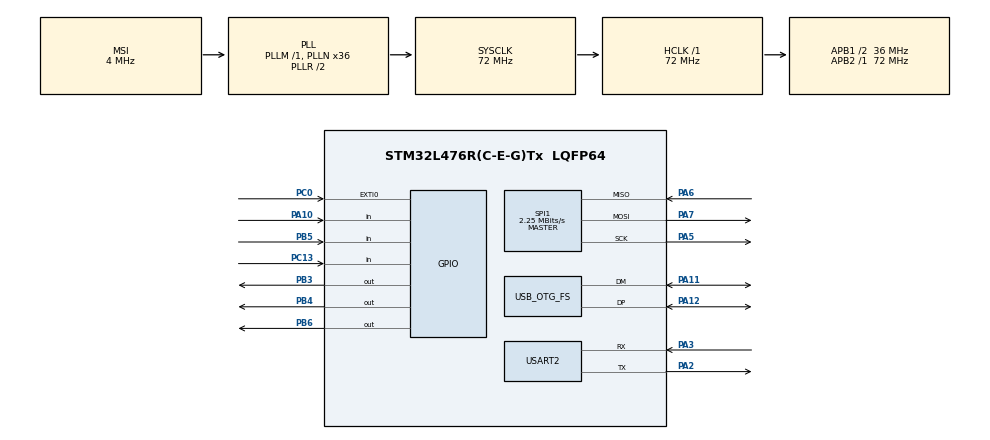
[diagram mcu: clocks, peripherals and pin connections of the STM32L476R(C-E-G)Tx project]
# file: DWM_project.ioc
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Mcu.Family=STM32L4
Mcu.Name=STM32L476R(C-E-G)Tx
Mcu.Package=LQFP64
NVIC.EXTI0_IRQn=true\:1\:0\:true
NVIC.PriorityGroup=NVIC_PRIORITYGROUP_4
PA10.Signal=GPIO_Input
PA11.Mode=Device_Only
PA11.Signal=USB_OTG_FS_DM
PA12.Mode=Device_Only
PA12.Signal=USB_OTG_FS_DP
PA2.Mode=Asynchronous
PA2.Signal=USART2_TX
PA3.Mode=Asynchronous
PA3.Signal=USART2_RX
PA5.Mode=Full_Duplex_Master
PA5.Signal=SPI1_SCK
PA6.GPIO_PuPd=GPIO_PULLUP
PA6.Mode=Full_Duplex_Master
PA6.Signal=SPI1_MISO
PA7.Mode=Full_Duplex_Master
PA7.Signal=SPI1_MOSI
PB3.Signal=GPIO_Output
PB4.Signal=GPIO_Output
PB5.Signal=GPIO_Input
PB6.GPIO_PuPd=GPIO_PULLUP
PB6.GPIO_Speed=GPIO_SPEED_HIGH
PB6.PinState=GPIO_PIN_SET
PB6.Signal=GPIO_Output
PC0.GPIO_PuPd=GPIO_PULLDOWN
PC0.Signal=GPXTI0
PC13.Signal=GPIO_Input
ProjectManager.HeapSize=0x400
ProjectManager.StackSize=0x200
ProjectManager.TargetToolchain=MDK-ARM V5
RCC.ADCFreq_Value=48000000
RCC.AHBFreq_Value=72000000
RCC.APB1CLKDivider=RCC_HCLK_DIV2
RCC.APB1Freq_Value=36000000
RCC.APB1TimFreq_Value=72000000
RCC.APB2Freq_Value=72000000
RCC.APB2TimFreq_Value=72000000
RCC.CortexFreq_Value=72000000
RCC.HCLKFreq_Value=72000000
RCC.HSE_VALUE=8000000
RCC.HSI_VALUE=16000000
RCC.LSE_VALUE=32768
RCC.MSI_VALUE=4000000
RCC.PLLN=36
RCC.PLLSAI1N=24
RCC.SYSCLKFreq_VALUE=72000000
RCC.SYSCLKSource=RCC_SYSCLKSOURCE_PLLCLK
RCC.USBFreq_Value=48000000
RCC.VCOOutputFreq_Value=144000000
SPI1.BaudRatePrescaler=SPI_BAUDRATEPRESCALER_32
SPI1.CLKPhase=SPI_PHASE_1EDGE
SPI1.CLKPolarity=SPI_POLARITY_LOW
SPI1.CRCCalculation=SPI_CRCCALCULATION_DISABLED
SPI1.CalculateBaudRate=2.25 MBits/s
SPI1.DataSize=SPI_DATASIZE_8BIT
SPI1.FirstBit=SPI_FIRSTBIT_MSB
SPI1.Mode=SPI_MODE_MASTER
SPI1.NSSPMode=SPI_NSS_PULSE_DISABLED
TIM2.Period=0xFFFFFFFF
TIM2.Prescaler=71
TIM5.Period=0xFFFFFFFF
TIM5.Prescaler=71
USART2.WordLength=UART_WORDLENGTH_8B
USB_OTG_FS.VirtualMode=Device_Only
VP_TIM2_VS_ClockSourceINT.Mode=Internal
VP_TIM5_VS_ClockSourceINT.Mode=Internal
board=DWM_project

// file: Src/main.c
/**
  ******************************************************************************
  * File Name          : main.c
  * Description        : Main program body
  ******************************************************************************
  *
  * COPYRIGHT(c) 2017 STMicroelectronics
  *
  * Redistribution and use in source and binary forms, with or without modification,
  * are permitted provided that the following conditions are met:
  *   1. Redistributions of source code must retain the above copyright notice,
  *      this list of conditions and the following disclaimer.
  *   2. Redistributions in binary form must reproduce the above copyright notice,
  *      this list of conditions and the following disclaimer in the documentation
  *      and/or other materials provided with the distribution.
  *   3. Neither the name of STMicroelectronics nor the names of its contributors
  *      may be used to endorse or promote products derived from this software
  *      without specific prior written permission.
  *
  * THIS SOFTWARE IS PROVIDED BY THE COPYRIGHT HOLDERS AND CONTRIBUTORS "AS IS"
  * AND ANY EXPRESS OR IMPLIED WARRANTIES, INCLUDING, BUT NOT LIMITED TO, THE
  * IMPLIED WARRANTIES OF MERCHANTABILITY AND FITNESS FOR A PARTICULAR PURPOSE ARE
  * DISCLAIMED. IN NO EVENT SHALL THE COPYRIGHT HOLDER OR CONTRIBUTORS BE LIABLE
  * FOR ANY DIRECT, INDIRECT, INCIDENTAL, SPECIAL, EXEMPLARY, OR CONSEQUENTIAL
  * DAMAGES (INCLUDING, BUT NOT LIMITED TO, PROCUREMENT OF SUBSTITUTE GOODS OR
  * SERVICES; LOSS OF USE, DATA, OR PROFITS; OR BUSINESS INTERRUPTION) HOWEVER
  * CAUSED AND ON ANY THEORY OF LIABILITY, WHETHER IN CONTRACT, STRICT LIABILITY,
  * OR TORT (INCLUDING NEGLIGENCE OR OTHERWISE) ARISING IN ANY WAY OUT OF THE USE
  * OF THIS SOFTWARE, EVEN IF ADVISED OF THE POSSIBILITY OF SUCH DAMAGE.
  *
  ******************************************************************************
  */
#include "stm32l4xx_hal.h"

/* USER CODE BEGIN Includes */
#include "deca_device_api.h"
#include "deca_regs.h"
#include "deca_com.h"
#include "usart_com.h"
#include "deca_spi.h"
#include "deca_meas.h"

#include <stdio.h>
#include <string.h>

/* USER CODE END Includes */

SPI_HandleTypeDef hspi1;

TIM_HandleTypeDef htim2;
TIM_HandleTypeDef htim5;

UART_HandleTypeDef huart2;

PCD_HandleTypeDef hpcd_USB_OTG_FS;

/* USER CODE BEGIN PV */
/* Private variables ---------------------------------------------------------*/

/* USER CODE END PV */

void SystemClock_Config(void);
static void MX_GPIO_Init(void);
static void MX_SPI1_Init(void);
static void MX_USART2_UART_Init(void);
static void MX_USB_OTG_FS_PCD_Init(void);
static void MX_TIM2_Init(void);
static void MX_TIM5_Init(void);

/* USER CODE BEGIN PFP */
/* Private function prototypes -----------------------------------------------*/

/* USER CODE END PFP */

/* USER CODE BEGIN 0 */

/* DW states for state machine */
uint32_t w_dwtState = DECA_TAG_IDLE_STATE;
uint32_t w_dwtStateLocal = DECA_TAG_IDLE_STATE;

/* Default communication configuration */
static dwt_config_t config =
	{ // working configuration (this is measurement #200)
    2,               /* Channel number. */
    DWT_PRF_64M,     /* Pulse repetition frequency. */
    DWT_PLEN_256,    /* Preamble length. Used in TX only. */
    DWT_PAC16,       /* Preamble acquisition chunk size. Used in RX only. */
    9,               /* TX preamble code. Used in TX only. */
    9,               /* RX preamble code. Used in RX only. */
    0,               /* 0 to use standard SFD, 1 to use non-standard SFD. */
    DWT_BR_850K,     /* Data rate. */
    DWT_PHRMODE_STD, /* PHY header mode. */
    (256 + 1 + 64 - 16) /* SFD timeout (preamble length + 1 + SFD length - PAC size). Used in RX only. */
	};

/* Measured time of flight in seconds and distance in meters */
static double d_timeOfFlight;
static double d_distance;

/* Default antenna delay values for 64 MHz PRF */
#define TX_ANT_DLY 16436
#define RX_ANT_DLY 16436

/* DW module mode*/
/* Set desired operating mode for DW here */
uint32_t w_dwtMode = DWT_MODE_ANCHOR;
uint32_t w_dwtId = DWT_ID_ANCHOR_0;

/* All measured distances from anchors */
uint16_t ahw_distances[NUM_OF_ANCHORS];

/* Time of one cycle of measuring all distances*/
uint32_t w_cyclePeriod = 0;

/* Time for computing distnace */
uint32_t w_distCompTime = 0;

/* Receive and transmit buffers are set to 20 bytes */
static uint8 ac_rxBuffer[PAYLOAD_20B];
static uint8 ac_txBuffer[PAYLOAD_20B];

/* Index of the current anchor for communication */
uint32_t w_measureAnchorInd = 0;

/* Timestamp fields */
uint8 ac_anchorPoll0rxTS[5];
uint8 ac_tagResponse0rxTS[5];
uint8 ac_tagPoll0txTS[5];
uint8 ac_anchorResponse0txTS[5];
uint8 ac_anchorPoll1rxTS[5];
uint8 ac_tagPoll1txTS[5];

uint64_t dw_anchorPoll0rxTS;
uint64_t dw_tagResponse0rxTS;
uint64_t dw_tagPoll0txTS;
uint64_t dw_anchorResponse0txTS;
uint64_t dw_anchorPoll1rxTS;
uint64_t dw_tagPoll1txTS;

/* Declaration of interrupt callback functions */
static void rx_ok_cb(const dwt_cb_data_t *cb_data);
static void rx_to_cb(const dwt_cb_data_t *cb_data);
static void rx_err_cb(const dwt_cb_data_t *cb_data);
static void tx_conf_cb(const dwt_cb_data_t *cb_data);

/* Function prototypes */
uint64_t getTimestampFromBuffer(uint8_t *ac_buffer, uint32_t w_offset);
void writeTimestampToBuffer(uint8_t *ac_readBuffer, uint8_t *ac_writeBuffer, uint32_t w_offset);

/* USER CODE END 0 */

int main(void)
{

  /* MCU Configuration----------------------------------------------------------*/

  /* Reset of all peripherals, Initializes the Flash interface and the Systick. */
  HAL_Init();

  /* Configure the system clock */
  SystemClock_Config();

  /* Initialize all configured peripherals */
  MX_GPIO_Init();
  MX_SPI1_Init();
  MX_USART2_UART_Init();
  MX_USB_OTG_FS_PCD_Init();
  MX_TIM2_Init();
  MX_TIM5_Init();

  /* USER CODE BEGIN 2 */
	wakeup_DW1000();
	//USART_puts("DWT wakeup\n");

	reset_DW1000();
	//USART_puts("DWT reset\n");
	HAL_Delay(5);

	/* Initialize DWT*/
	set_spi_speed_low(); // set SPI to low speed (2.5MHz) for initialization
	if (dwt_initialise(DWT_LOADUCODE) == DWT_SUCCESS){
		//USART_puts("Initialization OK\n");
	}
	else
	{
		//USART_puts("Initialization FAILED\n");
		while(1){};
	}
	set_spi_speed_high(); // set SPI to high speed (20MHz)

	HAL_Delay(5);

	/* Configure DW1000. */
	dwt_configure(&config);
	//USART_puts("DW configured\n");
	HAL_Delay(5);

	/* Register RX call-back. */
	dwt_setcallbacks(&tx_conf_cb, &rx_ok_cb, &rx_to_cb, &rx_err_cb);

	/* Enable wanted interrupts (TX confirmation, RX good frames, RX timeouts and RX errors). */
	dwt_setinterrupt(DWT_INT_TFRS | DWT_INT_RFCG | DWT_INT_RFTO | DWT_INT_RXPTO | DWT_INT_RPHE | DWT_INT_RFCE | DWT_INT_RFSL | DWT_INT_SFDT, 1);

	/* Set delay after transmiting */
	//dwt_setrxaftertxdelay(TX_TO_RX_DELAY_UUS);

	/* Apply default antenna delay value */
	dwt_setrxantennadelay(RX_ANT_DLY);
	dwt_settxantennadelay(TX_ANT_DLY);

	// Check SPI communication by reading ID
	while(dwt_readdevid() != DWT_DEVICE_ID){
		//USART_puts("ID NOT read successfully\n");
		while(1){};
	}
	//USART_puts("ID read successfully\n");

	/* Alert host, that MCU reset has occured*/
	//USART_putc(MCU_RESET);

	/* Set receive timeout */
	dwt_setrxtimeout(DECA_RX_TIMEOUT);

	/* Set initial state according to selected mode */
	if (w_dwtMode == DWT_MODE_ANCHOR){
		w_dwtState = DECA_ANCHOR_IDLE_STATE;
	}
	else if (w_dwtMode == DWT_MODE_TAG){
		w_dwtState = DECA_TAG_IDLE_STATE;
	}

	/* Enable and reset timer */
	TIM2->CR1 |= 0x1; // Timer enable
	TIM2->EGR |= 0x1; // Update event

	TIM5->CR1 |= 0x1; // Timer enable
	TIM5->EGR |= 0x1; // Update event

  /* USER CODE END 2 */

  /* Infinite loop */
  while (1)
  {

  /* USER CODE BEGIN 3 */

		w_dwtStateLocal = w_dwtState;
		/* Main state machine*/
		switch (w_dwtStateLocal){
			case DECA_TAG_IDLE_STATE:

				/* Get index of next anchor for exchange */
				w_measureAnchorInd++;
				if (w_measureAnchorInd >= NUM_OF_ANCHORS){
					w_measureAnchorInd = 0;
				}

				/* Send first poll to current Anchor */
				/* Write sender id and message ID into first byte of message*/
				ac_txBuffer[SENDER_INFO_BYTE] =  (uint8_t)(MESSAGE_ID_POLL_0)   |\
																				 (uint8_t)(DWT_MODE_TAG)        |\
																				 (uint8_t)w_dwtId;

				/* Write receiver ID to 2nd byte of message */
				ac_txBuffer[RECEIVER_INFO_BYTE] = (uint8_t)(DWT_MODE_ANCHOR)    |\
																					(uint8_t)w_measureAnchorInd;

				/* Write distance data to bytes 2 to 7 as 3 half words*/
				for (uint32_t dist_ind = 0; dist_ind < NUM_OF_ANCHORS; dist_ind++){
					for (uint32_t i = 0; i < 2; i++){
						ac_txBuffer[MESSAGE_DISTANCE_BYTE + dist_ind*2 + i] = (uint8_t)(ahw_distances[dist_ind] >> (8*i));
					}
				}

				/* Write frame data to DW1000 and prepare transmission. */
				dwt_writetxdata(sizeof(ac_txBuffer), ac_txBuffer, 0); /* Zero offset in TX buffer. */
				dwt_writetxfctrl(sizeof(ac_txBuffer), 0, 1);				  /* Zero offset in TX buffer,  ranging. */

				/* Start transmission, indicating that a response is expected so that reception is enabled immediately after the frame is sent. */
				dwt_starttx(DWT_START_TX_IMMEDIATE | DWT_RESPONSE_EXPECTED);

				TIM2->EGR |= 0x1; // Update event

				w_dwtState = DECA_TAG_RECEIVING_RESPONSE0_STATE;

				break;

			case DECA_ANCHOR_IDLE_STATE:

				/* Activate reception */
				dwt_rxenable(DWT_START_RX_IMMEDIATE);

				w_dwtState = DECA_ANCHOR_RECEIVING_POLL0_STATE;

				TIM2->EGR |= 0x1; // Update event

				break;

			case DECA_ANCHOR_POLL0_RECEIVED_STATE:

				/* Read poll0 received timestamp */
				dwt_readrxtimestamp(ac_anchorPoll0rxTS);

				/* Send response 0 message */
				/* Write sender id and message ID into first byte of message*/
				ac_txBuffer[SENDER_INFO_BYTE] =  (uint8_t)(MESSAGE_ID_RESPONSE_0) |\
																				 (uint8_t)(DWT_MODE_ANCHOR)       |\
																				 (uint8_t)w_dwtId;

				/* Write receiver ID to 2nd byte of message */
				ac_txBuffer[RECEIVER_INFO_BYTE] = (uint8_t)(DWT_MODE_TAG) |\
																					(uint8_t)DWT_ID_TAG_0;

				/* Write frame data to DW1000 and prepare transmission. */
				dwt_writetxdata(sizeof(ac_txBuffer), ac_txBuffer, 0); /* Zero offset in TX buffer. */
				dwt_writetxfctrl(sizeof(ac_txBuffer), 0, 1);				  /* Zero offset in TX buffer,  ranging. */

				/* Start transmission, indicating that a response is expected so that reception is enabled immediately after the frame is sent. */
				dwt_starttx(DWT_START_TX_IMMEDIATE | DWT_RESPONSE_EXPECTED);

				w_dwtState = DECA_ANCHOR_RECEIVING_POLL1_STATE;

				TIM2->EGR |= 0x1; // Tim 2 update event

				/* Get period of measuring all distances */
				w_cyclePeriod = TIM5->CNT;
				//w_cyclePeriod = w_cyclePeriod;
				TIM5->EGR |= 0x1; // Tim 5 Update event

				break;

			case DECA_TAG_RESPONSE0_RECEIVED_STATE:

				/* Get transmit timestamp of poll0 and receive timestamp of response 0*/
				dwt_readtxtimestamp(ac_tagPoll0txTS);
				dwt_readrxtimestamp(ac_tagResponse0rxTS);

				/* Send Poll 1*/
				/* Write sender id and message ID into first byte of message*/
				ac_txBuffer[SENDER_INFO_BYTE] =  (uint8_t)(MESSAGE_ID_POLL_1)  |\
																				 (uint8_t)(DWT_MODE_TAG)       |\
																				 (uint8_t)w_dwtId;

				/* Write receiver ID to 2nd byte of message */
				ac_txBuffer[RECEIVER_INFO_BYTE] = (uint8_t)(DWT_MODE_ANCHOR)   |\
																					(uint8_t)w_measureAnchorInd;

				/* Write frame data to DW1000 and prepare transmission. */
				dwt_writetxdata(sizeof(ac_txBuffer), ac_txBuffer, 0); /* Zero offset in TX buffer. */
				dwt_writetxfctrl(sizeof(ac_txBuffer), 0, 1);				    /* Zero offset in TX buffer,  ranging. */

				/* Start transmission, indicating that a response is expected so that reception is enabled immediately after the frame is sent. */
				dwt_starttx(DWT_START_TX_IMMEDIATE | DWT_RESPONSE_EXPECTED);

				w_dwtState = DECA_TAG_RECEIVING_RESPONSE1_STATE;

				TIM2->EGR |= 0x1; // Update event

				break;

			case DECA_ANCHOR_POLL1_RECEIVED_STATE:

				/* Read poll 1 received timestamp and response 0 transmit timestamp */
				dwt_readrxtimestamp(ac_anchorPoll1rxTS);
				dwt_readtxtimestamp(ac_anchorResponse0txTS);

				/* Send response 1 message */
				/* Write sender id and message ID into first byte of message*/
				ac_txBuffer[SENDER_INFO_BYTE] =  (uint8_t)(MESSAGE_ID_RESPONSE_1) |\
																				 (uint8_t)(DWT_MODE_ANCHOR)       |\
																				 (uint8_t)w_dwtId;

				/* Write receiver ID to 2nd byte of message */
				ac_txBuffer[RECEIVER_INFO_BYTE] = (uint8_t)(DWT_MODE_TAG)  |\
																					(uint8_t)DWT_ID_TAG_0;

				/* Write all three 40bit timestamps to message */
				writeTimestampToBuffer(ac_anchorPoll0rxTS, ac_txBuffer, MESSAGE_POLL0_RX_TS_BYTE);
				writeTimestampToBuffer(ac_anchorResponse0txTS, ac_txBuffer, MESSAGE_RESPONSE0_TX_TS_BYTE);
				writeTimestampToBuffer(ac_anchorPoll1rxTS, ac_txBuffer, MESSAGE_POLL1_RX_TS_BYTE);

				/* Write frame data to DW1000 and prepare transmission. */
				dwt_writetxdata(sizeof(ac_txBuffer), ac_txBuffer, 0);   /* Zero offset in TX buffer. */
				dwt_writetxfctrl(sizeof(ac_txBuffer), 0, 1);				    /* Zero offset in TX buffer,  ranging. */

				/* Start transmission, indicating that a response is expected so that reception is enabled immediately after the frame is sent. */
				dwt_starttx(DWT_START_TX_IMMEDIATE | DWT_RESPONSE_EXPECTED);

				w_dwtState = DECA_ANCHOR_IDLE_STATE;

				TIM2->EGR |= 0x1; // Update event

				break;

			case DECA_TAG_RESPONSE1_RECEIVED_STATE:

				TIM5->EGR |= 0x1; // update event

				/* Get transmit timestamp of poll 1 and receive timestamp of response 1*/
				dwt_readtxtimestamp(ac_tagPoll1txTS);
				//dwt_readrxtimestamp(ac_tagResponse1rxTS);

				dw_tagPoll0txTS = getTimestampFromBuffer(ac_tagPoll0txTS, 0);
			  dw_tagResponse0rxTS = getTimestampFromBuffer(ac_tagResponse0rxTS, 0);
			  dw_tagPoll1txTS = getTimestampFromBuffer(ac_tagPoll1txTS, 0);

				/* Get all anchor timestamps from response 1 message */
				dw_anchorPoll0rxTS = getTimestampFromBuffer(ac_rxBuffer, MESSAGE_POLL0_RX_TS_BYTE);
				dw_anchorResponse0txTS = getTimestampFromBuffer(ac_rxBuffer, MESSAGE_RESPONSE0_TX_TS_BYTE);
				dw_anchorPoll1rxTS = getTimestampFromBuffer(ac_rxBuffer, MESSAGE_POLL1_RX_TS_BYTE);

				/* Compute distance */
				double Ra, Rb, Da, Db;
				int64_t tof_dtu;

				Ra = (double)(dw_tagResponse0rxTS - dw_tagPoll0txTS);
				Rb = (double)(dw_anchorPoll1rxTS - dw_anchorResponse0txTS);
				Da = (double)(dw_tagPoll1txTS - dw_tagResponse0rxTS);
				Db = (double)(dw_anchorResponse0txTS - dw_anchorPoll0rxTS);

				tof_dtu = (int64_t)((Ra * Rb - Da * Db) / (Ra + Rb + Da + Db));

				d_timeOfFlight = tof_dtu * DWT_TIME_UNITS;
				d_distance = d_timeOfFlight * SPEED_OF_LIGHT;

				/* Save distance in cm as half word*/
				ahw_distances[w_measureAnchorInd] = (uint16_t)(d_distance * 100);

				w_distCompTime = TIM5->CNT;

				w_dwtState = DECA_TAG_IDLE_STATE;

				TIM2->EGR |= 0x1; // Update event

				break;

			case DECA_ANCHOR_DISTANCES_RECEIVED_STATE:
				/*
				*	 Tag has sent a poll which is not intended for Anchor 0,
				*  use this time to read Tag's distance measurement fields and send to host
				*/

				for (uint32_t dist_ind = 0; dist_ind < NUM_OF_ANCHORS; dist_ind++){
					ahw_distances[dist_ind] = 0;
					for (uint32_t i = 0; i < 2; i++){
						ahw_distances[dist_ind] |= ((uint16_t)(ac_rxBuffer[MESSAGE_DISTANCE_BYTE + dist_ind*2 + i]) << (8*i));
					}
				}

				/* Send measured distances to Host */
				USART_putc(MEAS_INCOMING);
				for (uint32_t i = 0; i < NUM_OF_ANCHORS; i++){
					USART_puthw(ahw_distances[i]);
				}

				w_dwtState = DECA_ANCHOR_IDLE_STATE;

				TIM2->EGR |= 0x1; // Update event

				break;

			case DECA_TAG_RECEIVING_RESPONSE0_STATE:
			case DECA_TAG_RECEIVING_RESPONSE1_STATE:

				if (TIM2->CNT > TIM_CNT_TIMEOUT){

					/* Force DW transmiter/receiver off */
					dwt_forcetrxoff();

					w_dwtState = DECA_TAG_IDLE_STATE;

					TIM2->EGR |= 0x1; // Update event
				}
				break;

			case DECA_ANCHOR_RECEIVING_POLL0_STATE:
			case DECA_ANCHOR_RECEIVING_POLL1_STATE:

				if (TIM2->CNT > TIM_CNT_TIMEOUT){

					/* Force DW transmiter/receiver off */
					dwt_forcetrxoff();

					w_dwtState = DECA_ANCHOR_IDLE_STATE;

					TIM2->EGR |= 0x1; // Update event
				}

				break;
		}

	} /* end while*/

  /* USER CODE END 3 */

}

/** System Clock Configuration
*/
void SystemClock_Config(void)
{

  RCC_OscInitTypeDef RCC_OscInitStruct;
  RCC_ClkInitTypeDef RCC_ClkInitStruct;
  RCC_PeriphCLKInitTypeDef PeriphClkInit;

  RCC_OscInitStruct.OscillatorType = RCC_OSCILLATORTYPE_LSE|RCC_OSCILLATORTYPE_MSI;
  RCC_OscInitStruct.LSEState = RCC_LSE_OFF;
  RCC_OscInitStruct.MSIState = RCC_MSI_ON;
  RCC_OscInitStruct.MSICalibrationValue = 0;
  RCC_OscInitStruct.MSIClockRange = RCC_MSIRANGE_6;
  RCC_OscInitStruct.PLL.PLLState = RCC_PLL_ON;
  RCC_OscInitStruct.PLL.PLLSource = RCC_PLLSOURCE_MSI;
  RCC_OscInitStruct.PLL.PLLM = 1;
  RCC_OscInitStruct.PLL.PLLN = 36;
  RCC_OscInitStruct.PLL.PLLP = RCC_PLLP_DIV7;
  RCC_OscInitStruct.PLL.PLLQ = RCC_PLLQ_DIV2;
  RCC_OscInitStruct.PLL.PLLR = RCC_PLLR_DIV2;
  HAL_RCC_OscConfig(&RCC_OscInitStruct);

  RCC_ClkInitStruct.ClockType = RCC_CLOCKTYPE_HCLK|RCC_CLOCKTYPE_SYSCLK
                              |RCC_CLOCKTYPE_PCLK1|RCC_CLOCKTYPE_PCLK2;
  RCC_ClkInitStruct.SYSCLKSource = RCC_SYSCLKSOURCE_PLLCLK;
  RCC_ClkInitStruct.AHBCLKDivider = RCC_SYSCLK_DIV1;
  RCC_ClkInitStruct.APB1CLKDivider = RCC_HCLK_DIV2;
  RCC_ClkInitStruct.APB2CLKDivider = RCC_HCLK_DIV1;
  HAL_RCC_ClockConfig(&RCC_ClkInitStruct, FLASH_LATENCY_4);

  PeriphClkInit.PeriphClockSelection = RCC_PERIPHCLK_USART2|RCC_PERIPHCLK_USB;
  PeriphClkInit.Usart2ClockSelection = RCC_USART2CLKSOURCE_PCLK1;
  PeriphClkInit.UsbClockSelection = RCC_USBCLKSOURCE_PLLSAI1;
  PeriphClkInit.PLLSAI1.PLLSAI1N = 24;
  PeriphClkInit.PLLSAI1.PLLSAI1P = RCC_PLLP_DIV7;
  PeriphClkInit.PLLSAI1.PLLSAI1Q = RCC_PLLQ_DIV2;
  PeriphClkInit.PLLSAI1.PLLSAI1R = RCC_PLLR_DIV2;
  PeriphClkInit.PLLSAI1.PLLSAI1ClockOut = RCC_PLLSAI1_48M2CLK;
  HAL_RCCEx_PeriphCLKConfig(&PeriphClkInit);

  __PWR_CLK_ENABLE();

  HAL_PWREx_ControlVoltageScaling(PWR_REGULATOR_VOLTAGE_SCALE1);

  HAL_SYSTICK_Config(HAL_RCC_GetHCLKFreq()/1000);

  HAL_SYSTICK_CLKSourceConfig(SYSTICK_CLKSOURCE_HCLK);

  HAL_RCCEx_EnableMSIPLLMode();

  /* SysTick_IRQn interrupt configuration */
  HAL_NVIC_SetPriority(SysTick_IRQn, 0, 0);
}

/* SPI1 init function */
void MX_SPI1_Init(void)
{

  hspi1.Instance = SPI1;
  hspi1.Init.Mode = SPI_MODE_MASTER;
  hspi1.Init.Direction = SPI_DIRECTION_2LINES;
  hspi1.Init.DataSize = SPI_DATASIZE_8BIT;
  hspi1.Init.CLKPolarity = SPI_POLARITY_LOW;
  hspi1.Init.CLKPhase = SPI_PHASE_1EDGE;
  hspi1.Init.NSS = SPI_NSS_SOFT;
  hspi1.Init.BaudRatePrescaler = SPI_BAUDRATEPRESCALER_32;
  hspi1.Init.FirstBit = SPI_FIRSTBIT_MSB;
  hspi1.Init.TIMode = SPI_TIMODE_DISABLED;
  hspi1.Init.CRCCalculation = SPI_CRCCALCULATION_DISABLED;
  hspi1.Init.CRCPolynomial = 7;
  hspi1.Init.CRCLength = SPI_CRC_LENGTH_DATASIZE;
  hspi1.Init.NSSPMode = SPI_NSS_PULSE_DISABLED;
  HAL_SPI_Init(&hspi1);

}

/* TIM2 init function */
void MX_TIM2_Init(void)
{

  TIM_ClockConfigTypeDef sClockSourceConfig;
  TIM_MasterConfigTypeDef sMasterConfig;

  htim2.Instance = TIM2;
  htim2.Init.Prescaler = 71;
  htim2.Init.CounterMode = TIM_COUNTERMODE_UP;
  htim2.Init.Period = 0xFFFFFFFF;
  htim2.Init.ClockDivision = TIM_CLOCKDIVISION_DIV1;
  HAL_TIM_Base_Init(&htim2);

  sClockSourceConfig.ClockSource = TIM_CLOCKSOURCE_INTERNAL;
  HAL_TIM_ConfigClockSource(&htim2, &sClockSourceConfig);

  sMasterConfig.MasterOutputTrigger = TIM_TRGO_RESET;
  sMasterConfig.MasterSlaveMode = TIM_MASTERSLAVEMODE_DISABLE;
  HAL_TIMEx_MasterConfigSynchronization(&htim2, &sMasterConfig);

}

/* TIM5 init function */
void MX_TIM5_Init(void)
{

  TIM_ClockConfigTypeDef sClockSourceConfig;
  TIM_MasterConfigTypeDef sMasterConfig;

  htim5.Instance = TIM5;
  htim5.Init.Prescaler = 71;
  htim5.Init.CounterMode = TIM_COUNTERMODE_UP;
  htim5.Init.Period = 0xFFFFFFFF;
  htim5.Init.ClockDivision = TIM_CLOCKDIVISION_DIV1;
  HAL_TIM_Base_Init(&htim5);

  sClockSourceConfig.ClockSource = TIM_CLOCKSOURCE_INTERNAL;
  HAL_TIM_ConfigClockSource(&htim5, &sClockSourceConfig);

  sMasterConfig.MasterOutputTrigger = TIM_TRGO_RESET;
  sMasterConfig.MasterSlaveMode = TIM_MASTERSLAVEMODE_DISABLE;
  HAL_TIMEx_MasterConfigSynchronization(&htim5, &sMasterConfig);

}

/* USART2 init function */
void MX_USART2_UART_Init(void)
{

  huart2.Instance = USART2;
  huart2.Init.BaudRate = 115200;
  huart2.Init.WordLength = UART_WORDLENGTH_8B;
  huart2.Init.StopBits = UART_STOPBITS_1;
  huart2.Init.Parity = UART_PARITY_NONE;
  huart2.Init.Mode = UART_MODE_TX_RX;
  huart2.Init.HwFlowCtl = UART_HWCONTROL_NONE;
  huart2.Init.OverSampling = UART_OVERSAMPLING_16;
  huart2.Init.OneBitSampling = UART_ONEBIT_SAMPLING_DISABLED;
  huart2.AdvancedInit.AdvFeatureInit = UART_ADVFEATURE_NO_INIT;
  HAL_UART_Init(&huart2);

}

/* USB_OTG_FS init function */
void MX_USB_OTG_FS_PCD_Init(void)
{

  hpcd_USB_OTG_FS.Instance = USB_OTG_FS;
  hpcd_USB_OTG_FS.Init.dev_endpoints = 7;
  hpcd_USB_OTG_FS.Init.speed = PCD_SPEED_FULL;
  hpcd_USB_OTG_FS.Init.ep0_mps = DEP0CTL_MPS_64;
  hpcd_USB_OTG_FS.Init.phy_itface = PCD_PHY_EMBEDDED;
  hpcd_USB_OTG_FS.Init.Sof_enable = DISABLE;
  hpcd_USB_OTG_FS.Init.low_power_enable = DISABLE;
  hpcd_USB_OTG_FS.Init.lpm_enable = DISABLE;
  hpcd_USB_OTG_FS.Init.battery_charging_enable = DISABLE;
  hpcd_USB_OTG_FS.Init.vbus_sensing_enable = ENABLE;
  HAL_PCD_Init(&hpcd_USB_OTG_FS);

}

/** Configure pins as
        * Analog
        * Input
        * Output
        * EVENT_OUT
        * EXTI
*/
void MX_GPIO_Init(void)
{

  GPIO_InitTypeDef GPIO_InitStruct;

  /* GPIO Ports Clock Enable */
  __GPIOC_CLK_ENABLE();
  __GPIOA_CLK_ENABLE();
  __GPIOB_CLK_ENABLE();

  /*Configure GPIO pin : PC13 */
  GPIO_InitStruct.Pin = GPIO_PIN_13;
  GPIO_InitStruct.Mode = GPIO_MODE_INPUT;
  GPIO_InitStruct.Pull = GPIO_NOPULL;
  HAL_GPIO_Init(GPIOC, &GPIO_InitStruct);

  /*Configure GPIO pin : PC0 */
  GPIO_InitStruct.Pin = GPIO_PIN_0;
  GPIO_InitStruct.Mode = GPIO_MODE_IT_RISING;
  GPIO_InitStruct.Pull = GPIO_PULLDOWN;
  HAL_GPIO_Init(GPIOC, &GPIO_InitStruct);

  /*Configure GPIO pin : PA10 */
  GPIO_InitStruct.Pin = GPIO_PIN_10;
  GPIO_InitStruct.Mode = GPIO_MODE_INPUT;
  GPIO_InitStruct.Pull = GPIO_NOPULL;
  HAL_GPIO_Init(GPIOA, &GPIO_InitStruct);

  /*Configure GPIO pins : PB3 PB4 */
  GPIO_InitStruct.Pin = GPIO_PIN_3|GPIO_PIN_4;
  GPIO_InitStruct.Mode = GPIO_MODE_OUTPUT_PP;
  GPIO_InitStruct.Pull = GPIO_NOPULL;
  GPIO_InitStruct.Speed = GPIO_SPEED_LOW;
  HAL_GPIO_Init(GPIOB, &GPIO_InitStruct);

  /*Configure GPIO pin : PB5 */
  GPIO_InitStruct.Pin = GPIO_PIN_5;
  GPIO_InitStruct.Mode = GPIO_MODE_INPUT;
  GPIO_InitStruct.Pull = GPIO_NOPULL;
  HAL_GPIO_Init(GPIOB, &GPIO_InitStruct);

  /*Configure GPIO pin : PB6 */
  GPIO_InitStruct.Pin = GPIO_PIN_6;
  GPIO_InitStruct.Mode = GPIO_MODE_OUTPUT_PP;
  GPIO_InitStruct.Pull = GPIO_PULLUP;
  GPIO_InitStruct.Speed = GPIO_SPEED_HIGH;
  HAL_GPIO_Init(GPIOB, &GPIO_InitStruct);

  /*Configure GPIO pin Output Level */
  HAL_GPIO_WritePin(GPIOB, GPIO_PIN_3|GPIO_PIN_4, GPIO_PIN_RESET);

  /*Configure GPIO pin Output Level */
  HAL_GPIO_WritePin(GPIOB, GPIO_PIN_6, GPIO_PIN_SET);

  /* EXTI interrupt init*/
  HAL_NVIC_SetPriority(EXTI0_IRQn, 1, 0);
  HAL_NVIC_EnableIRQ(EXTI0_IRQn);

}

/* USER CODE BEGIN 4 */

/*! ------------------------------------------------------------------------------------------------------------------
 * @fn rx_ok_cb()
 * @brief Callback to process RX good frame events
 * @param  cb_data  callback data
 * @return  none
 */
static void rx_ok_cb(const dwt_cb_data_t *cb_data)
{

	int i;

	/* Clear local RX buffer to avoid having leftovers from previous receptions. This is not necessary but is included here to aid reading the RX
	 * buffer. */
	for (i = 0 ; i < PAYLOAD_20B; i++ )
	{
		ac_rxBuffer[i] = 0;
	}

	/* Check if received message is expected length */
	if (cb_data->datalength <= PAYLOAD_20B)
	{

		/* A frame has been received, copy it to our local buffer. */
		dwt_readrxdata(ac_rxBuffer, cb_data->datalength, 0);

		/* Tag */
		if ((w_dwtMode == DWT_MODE_TAG) && (w_dwtId == DWT_ID_TAG_0)){

			/* Check message ID */
			switch(ac_rxBuffer[SENDER_INFO_BYTE] & MESSAGE_ID_MASK){
				case MESSAGE_ID_RESPONSE_0:
						if (w_dwtState == DECA_TAG_RECEIVING_RESPONSE0_STATE){
							w_dwtState = DECA_TAG_RESPONSE0_RECEIVED_STATE;
						}
						else {
							w_dwtState = DECA_TAG_IDLE_STATE;
						}
					break;
				case MESSAGE_ID_RESPONSE_1:
					if (w_dwtState == DECA_TAG_RECEIVING_RESPONSE1_STATE){
						w_dwtState = DECA_TAG_RESPONSE1_RECEIVED_STATE;
					}
					else {
						w_dwtState = DECA_TAG_IDLE_STATE;
					}
					break;
				default:
				/* In case message with unknown ID received, cancel exchange and go back to Idle */
				w_dwtState = DECA_TAG_IDLE_STATE;
				}

			}
			/* Main anchor */
			else if ((w_dwtMode == DWT_MODE_ANCHOR) && (w_dwtId == DWT_ID_ANCHOR_0)){

				/* Check message ID */
				switch (ac_rxBuffer[SENDER_INFO_BYTE] & MESSAGE_ID_MASK){
					case MESSAGE_ID_POLL_0:
						/* Check if message is intended for me*/
						if ((ac_rxBuffer[RECEIVER_INFO_BYTE] & DWT_ID_MASK) == w_dwtId){
							w_dwtState = DECA_ANCHOR_POLL0_RECEIVED_STATE;
						}
						else if ((ac_rxBuffer[RECEIVER_INFO_BYTE] & DWT_ID_MASK) == DWT_ID_ANCHOR_1){
							w_dwtState = DECA_ANCHOR_DISTANCES_RECEIVED_STATE;
						}
						else {
							w_dwtState = DECA_ANCHOR_IDLE_STATE;
						}
						break;

					case MESSAGE_ID_POLL_1:
						/* Check if message is intended for me*/
						if ((ac_rxBuffer[RECEIVER_INFO_BYTE] & DWT_ID_MASK) == w_dwtId){
							w_dwtState = DECA_ANCHOR_POLL1_RECEIVED_STATE;
						}
						else {
							w_dwtState = DECA_ANCHOR_IDLE_STATE;
						}
						break;
					default:
						/* In case message with unknown ID received, cancel exchange and go back to Idle */
						w_dwtState = DECA_ANCHOR_IDLE_STATE;
				}

			}
			/* All other anchors */
			else {

				/* Check message ID */
				switch (ac_rxBuffer[SENDER_INFO_BYTE] & MESSAGE_ID_MASK){

					case MESSAGE_ID_POLL_0:
						/* Check if message is intended for me*/
						if ((ac_rxBuffer[RECEIVER_INFO_BYTE] & DWT_ID_MASK) == w_dwtId){
							w_dwtState = DECA_ANCHOR_POLL0_RECEIVED_STATE;
						}
						else{
							w_dwtState = DECA_ANCHOR_IDLE_STATE;
						}
						break;

					case MESSAGE_ID_POLL_1:
						/* Check if message is intended for me*/
						if ((ac_rxBuffer[RECEIVER_INFO_BYTE] & DWT_ID_MASK) == w_dwtId){
							w_dwtState = DECA_ANCHOR_POLL1_RECEIVED_STATE;
						}
						else {
							w_dwtState = DECA_ANCHOR_IDLE_STATE;
						}
						break;

					default:
						/* In case message with unknown ID received, cancel exchange and go back to Idle */
						w_dwtState = DECA_ANCHOR_IDLE_STATE;
				}
			}

		}
		else {
		/* Incorrect message was received, cancel current exchange and go back to idle state */
		w_dwtState = DECA_ANCHOR_IDLE_STATE;
	}
}

/*! ------------------------------------------------------------------------------------------------------------------
 * @fn rx_to_cb()
 * @brief Callback to process RX timeout events
 * @param  cb_data  callback data
 * @return  none
 */
static void rx_to_cb(const dwt_cb_data_t *cb_data)
{
	/* In case timeout occurs during reception, cancel exchange and go back to Idle state */
	switch (w_dwtMode){
		case DWT_MODE_TAG:
			w_dwtState = DECA_TAG_IDLE_STATE;
			break;

		case DWT_MODE_ANCHOR:
			w_dwtState = DECA_ANCHOR_IDLE_STATE;
			break;
	}

}

/*! ------------------------------------------------------------------------------------------------------------------
 * @fn rx_err_cb()
 * @brief Callback to process RX error events
 * @param  cb_data  callback data
 * @return  none
 */
static void rx_err_cb(const dwt_cb_data_t *cb_data)
{
	/* In case error occurs during reception, cancel exchange and go back to Idle state */
	switch (w_dwtMode){
		case DWT_MODE_TAG:
			w_dwtState = DECA_TAG_IDLE_STATE;
			break;

		case DWT_MODE_ANCHOR:
			w_dwtState = DECA_ANCHOR_IDLE_STATE;
			break;
	}
}

/*! ------------------------------------------------------------------------------------------------------------------
 * @fn tx_conf_cb()
 * @brief Callback to process TX confirmation events
 * @param  cb_data  callback data
 * @return  none
 */
static void tx_conf_cb(const dwt_cb_data_t *cb_data)
{

}

/**
 * @fn getTimestampFromBuffer
 * @brief Get timestamp from buffer
 * @param  (uint8_t *) ac_buffer   : buffer from which the timestamp will be read
 * @param  (uint32_t) w_offset     : offset from buffer base address
 * @return (uint64_t) dw_timestamp : 5 byte timestamp value
 */
uint64_t getTimestampFromBuffer(uint8_t *ac_buffer, uint32_t w_offset){

	uint64_t dw_timestamp = 0;
	for (uint32_t i = 0; i < 5; i++) {
		dw_timestamp |= (uint64_t)(ac_buffer[w_offset + i]) << (8*i);
	}

	return dw_timestamp;

}
/**
 * @fn writeTimestampToBuffer
 * @brief Write 5 byte timestamp to buffer
 * @param  (uint64_t) ac_readBuffer : read buffer from which 5 byte timestamp value will be read
 * @param  (uint8_t *) ac_buffer    : buffer to which the timestamp will be written
 * @param  (uint32_t) w_offset      : offset from write buffer base address
 * @return none
 */
void writeTimestampToBuffer(uint8_t *ac_readBuffer, uint8_t *ac_writeBuffer, uint32_t w_offset){

	for (uint32_t i = 0; i < 5; i++){
		ac_writeBuffer[w_offset + i] = ac_readBuffer[i];
	}

}

/* USER CODE END 4 */

/************************ (C) COPYRIGHT STMicroelectronics *****END OF FILE****/
